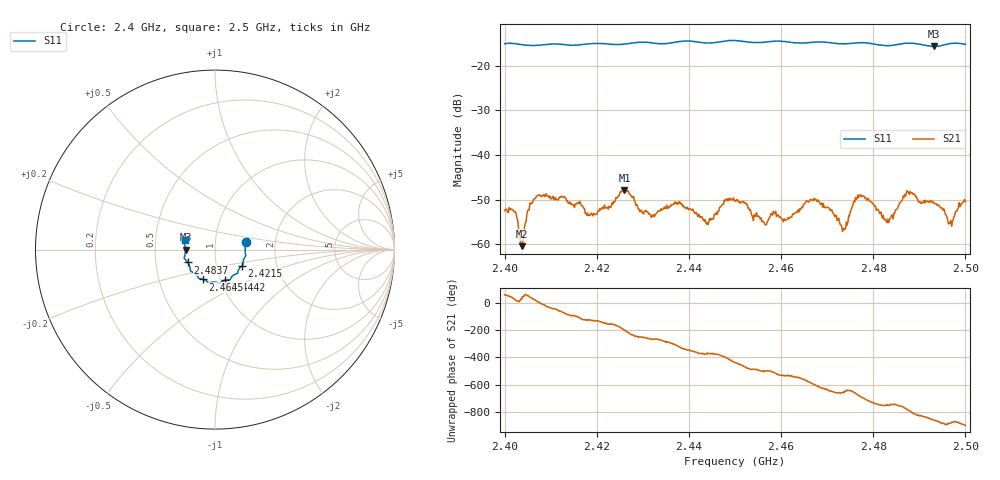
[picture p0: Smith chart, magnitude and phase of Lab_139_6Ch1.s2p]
# Hz S RI R 50
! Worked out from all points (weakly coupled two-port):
!   601 points, 2.4 GHz to 2.5 GHz, reference 50 ohm
!   highest |S21| = -47.86 dB at 2.426 GHz (marker M1); lowest = -60.4 dB at 2.4038 GHz (marker M2)
!   lowest |S11| = -15.7 dB at 2.4932 GHz (marker M3), VSWR 1.39, Z = 36 - j0.0486 ohm
!   |S11| at or under -10 dB: start of sweep to end of sweep
!   S12 and S22 are empty: the file has one direction only
!   S11 on the Smith chart (normalised r, x): 2.4 GHz: 1.41, +0.12; 2.4215 GHz: 1.33, -0.25; 2.4442 GHz: 1.05, -0.37; 2.4645 GHz: 0.83, -0.29; 2.4837 GHz: 0.73, -0.11; 2.5 GHz: 0.71, +0.07
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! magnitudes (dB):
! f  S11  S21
! 2.4 GHz  -15.1  -52.5
! 2.402 GHz  -15.1  -52.6
! 2.4038 GHz  -15.3  -60.4
! 2.407 GHz  -15.5  -49.2
! 2.4167 GHz  -15.3  -51.3
! 2.4215 GHz  -15.1  -52.1
! 2.426 GHz  -15.2  -47.9
! 2.4333 GHz  -15.1  -52.6
! 2.438 GHz  -14.6  -50.5
! 2.4442 GHz  -15.0  -55.6
! 2.45 GHz  -14.4  -50.2
! 2.4563 GHz  -14.8  -55.2
! 2.4645 GHz  -15.0  -51.7
! 2.4667 GHz  -14.8  -50.0
! 2.4735 GHz  -15.1  -56.5
! 2.4772 GHz  -14.9  -49.2
! 2.4833 GHz  -15.6  -55.2
! 2.4837 GHz  -15.5  -54.3
! 2.4877 GHz  -15.0  -48.5
! 2.4932 GHz  -15.7  -50.9
! 2.4967 GHz  -15.1  -55.4
! 2.5 GHz  -15.3  -50.5
